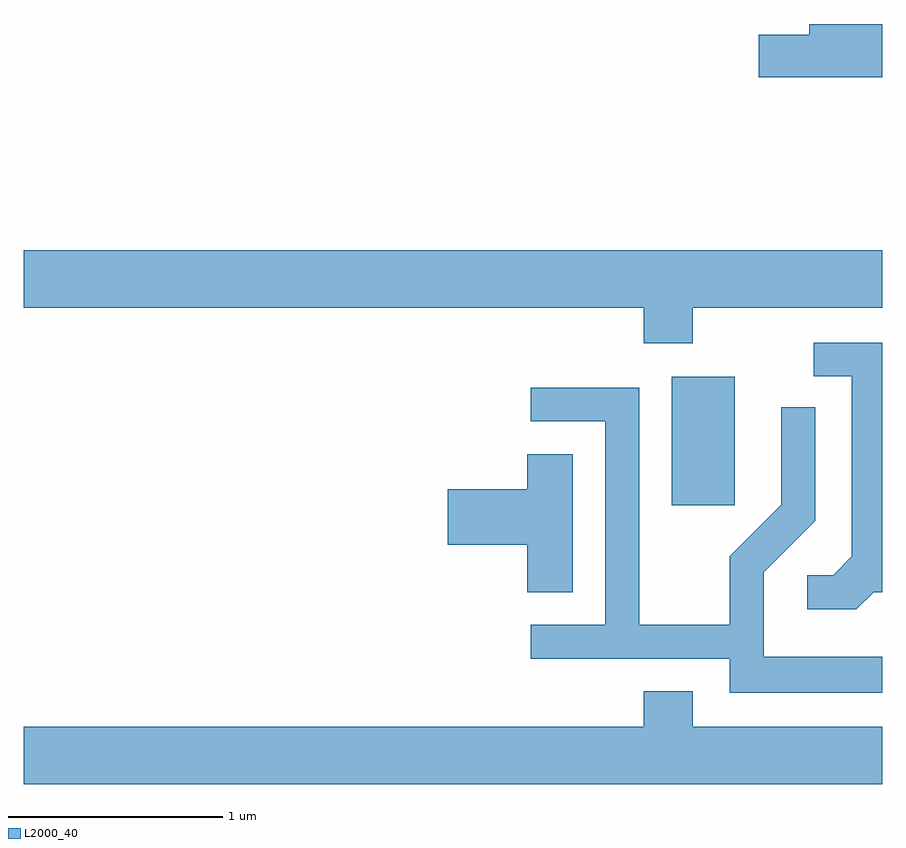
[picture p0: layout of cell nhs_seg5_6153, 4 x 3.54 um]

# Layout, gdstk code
import gdstk
lib = gdstk.Library(unit=1e-6, precision=1e-09)
def R(c, l, rs):  # rectangles x0, y0, x1, y1
    for r in rs: c.add(gdstk.rectangle(r[:2], r[2:], *l))
def P(c, l, *ps):  # polygons
    for p in ps: c.add(gdstk.Polygon(p, *l))
L2000_40 = (2000, 40)

nhs_seg5_6153 = lib.new_cell('nhs_seg5_6153')
R(nhs_seg5_6153, L2000_40, [(370.631,1453.656,370.924,1454.254)])
P(nhs_seg5_6153, L2000_40, [(371.611,1455.899),(371.271,1455.899),(371.271,1455.849),(371.036,1455.849),(371.036,1455.651),(371.611,1455.651)],
  [(370.729,1454.576),(371.611,1454.576),(371.611,1454.844),(367.611,1454.844),(367.611,1454.576),(370.501,1454.576),(370.501,1454.411),(370.729,1454.411)],
  [(371.572,1453.251),(371.611,1453.251),(371.611,1454.414),(371.293,1454.414),(371.293,1454.256),(371.471,1454.256),(371.471,1453.417),(371.384,1453.329),(371.263,1453.329),(371.263,1453.171),(371.492,1453.171)],
  [(371.611,1452.949),(371.059,1452.949),(371.059,1453.344),(371.299,1453.584),(371.299,1454.113),(371.141,1454.113),(371.141,1453.657),(370.901,1453.417),(370.901,1453.099),(370.479,1453.099),(370.479,1454.204),(369.973,1454.204),(369.973,1454.046),(370.321,1454.046),(370.321,1453.099),(369.973,1453.099),(369.973,1452.941),(370.901,1452.941),(370.901,1452.781),(371.611,1452.781)],
  [(370.169,1453.894),(369.956,1453.894),(369.956,1453.729),(369.586,1453.729),(369.586,1453.471),(369.956,1453.471),(369.956,1453.251),(370.169,1453.251)],
  [(371.611,1452.624),(370.729,1452.624),(370.729,1452.789),(370.501,1452.789),(370.501,1452.624),(367.611,1452.624),(367.611,1452.356),(371.611,1452.356)])

lib.write_gds('nhs_seg5_6153.gds')
